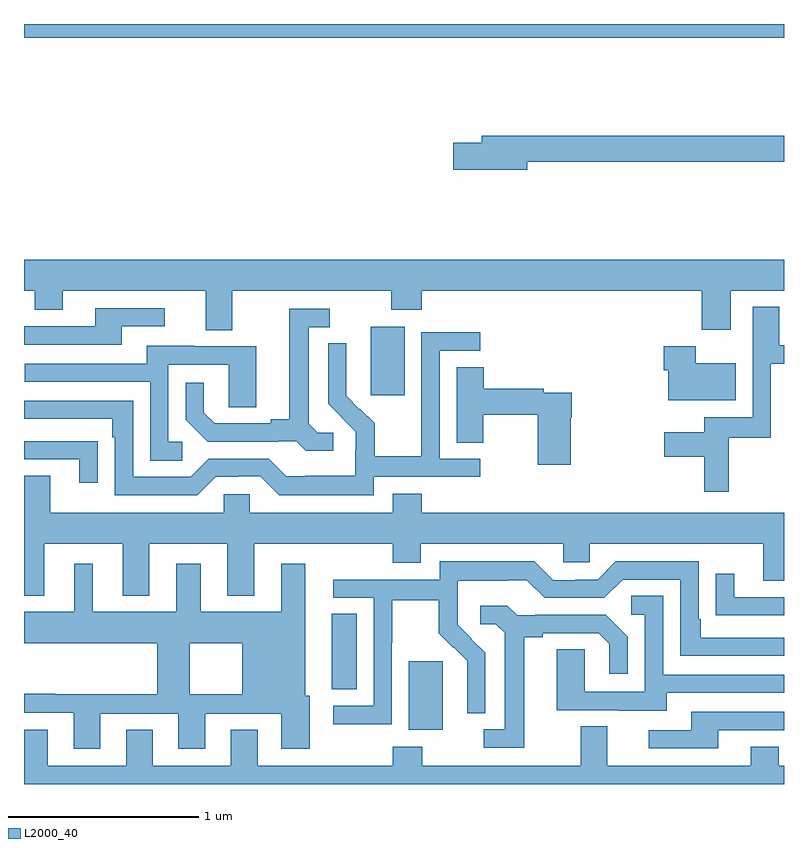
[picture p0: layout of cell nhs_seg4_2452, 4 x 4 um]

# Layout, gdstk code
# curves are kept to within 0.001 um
import gdstk
lib = gdstk.Library(unit=1e-6, precision=1e-09)
def R(c, l, rs):  # rectangles x0, y0, x1, y1
    for r in rs: c.add(gdstk.rectangle(r[:2], r[2:], *l))
def P(c, l, *ps):  # polygons
    for p in ps: c.add(gdstk.Polygon(p, *l))
L2000_40 = (2000, 40)

nhs_seg4_2452 = lib.new_cell('nhs_seg4_2452')
R(nhs_seg4_2452, L2000_40, [(241.025,785.186,241.204,785.547), (240.62,785.398,240.751,785.795), (240.824,786.945,241.003,787.306), (239,788.828,243,788.9)])
P(nhs_seg4_2452, L2000_40, [(241.648,788.176),(243,788.176),(243,788.312),(241.409,788.312),(241.409,788.276),(241.26,788.276),(241.26,788.134),(241.648,788.134)],
  [(240.097,787.496),(240.934,787.496),(240.934,787.397),(241.094,787.397),(241.094,787.496),(242.567,787.496),(242.567,787.29),(242.719,787.29),(242.719,787.496),(243,787.496),(243,787.66),(239,787.66),(239,787.496),(239.056,787.496),(239.056,787.397),(239.203,787.397),(239.203,787.496),(239.957,787.496),(239.957,787.288),(240.097,787.288)],
  [(242.71,786.723),(242.931,786.723),(242.931,787.113),(243,787.113),(243,787.209),(242.974,787.209),(242.974,787.411),(242.835,787.411),(242.835,786.831),(242.581,786.831),(242.581,786.751),(242.37,786.751),(242.37,786.622),(242.581,786.622),(242.581,786.438),(242.71,786.438)],
  [(239.515,787.308),(239.74,787.308),(239.74,787.404),(239.375,787.404),(239.375,787.308),(239,787.308),(239,787.212),(239.515,787.212)],
  [(240.628,786.75),(240.546,786.75),(240.499,786.797),(240.499,787.305),(240.61,787.305),(240.61,787.401),(240.395,787.401),(240.395,786.821),(240.299,786.821),(240.299,786.798),(240.004,786.798),(239.947,786.855),(239.947,787.012),(239.85,787.012),(239.85,786.818),(239.966,786.702),(240.338,786.702),(240.338,786.705),(240.432,786.705),(240.484,786.653),(240.628,786.653)],
  [(240.84,786.516),(241.402,786.516),(241.402,786.612),(241.188,786.612),(241.188,787.179),(241.402,787.179),(241.402,787.278),(241.092,787.278),(241.092,786.848),(241.09,786.848),(241.09,786.625),(240.845,786.625),(240.845,786.799),(240.768,786.876),(240.765,786.873),(240.695,786.944),(240.696,787.22),(240.6,787.22),(240.6,786.902),(240.746,786.754),(240.746,786.657),(240.744,786.657),(240.744,786.523),(240.481,786.523),(240.481,786.519),(240.381,786.519),(240.288,786.612),(239.973,786.612),(239.877,786.516),(239.574,786.516),(239.574,786.918),(239,786.918),(239,786.822),(239.465,786.822),(239.465,786.725),(239.478,786.725),(239.478,786.42),(239.913,786.42),(240.009,786.516),(240.128,786.516),(240.128,786.519),(240.243,786.519),(240.343,786.419),(240.84,786.419)],
  [(239.833,786.702),(239.76,786.702),(239.76,787.107),(240.078,787.107),(240.078,786.883),(240.223,786.883),(240.223,787.203),(239.899,787.203),(239.899,787.207),(239.645,787.207),(239.645,787.113),(239.005,787.113),(239.005,787.017),(239.664,787.017),(239.664,786.601),(239.833,786.601)],
  [(242.746,787.114),(242.536,787.114),(242.536,787.203),(242.366,787.203),(242.366,787.077),(242.39,787.077),(242.39,786.92),(242.746,786.92)],
  [(241.878,786.827),(241.883,786.827),(241.883,786.96),(241.736,786.96),(241.736,786.98),(241.421,786.98),(241.421,787.094),(241.277,787.094),(241.277,786.697),(241.416,786.697),(241.416,786.844),(241.705,786.844),(241.705,786.579),(241.878,786.579)],
  [(239.387,786.704),(239.285,786.704),(239.285,786.705),(239,786.705),(239,786.609),(239.291,786.609),(239.291,786.486),(239.387,786.486)],
  [(239.107,786.164),(239.519,786.164),(239.519,785.891),(239.659,785.891),(239.659,786.164),(240.071,786.164),(240.071,785.891),(240.211,785.891),(240.211,786.164),(240.94,786.164),(240.94,786.065),(241.087,786.065),(241.087,786.164),(241.839,786.164),(241.839,786.066),(241.977,786.066),(241.977,786.164),(242.891,786.164),(242.891,785.97),(243,785.97),(243,786.328),(241.094,786.328),(241.094,786.427),(240.941,786.427),(240.941,786.328),(240.189,786.328),(240.189,786.426),(240.051,786.426),(240.051,786.328),(239.137,786.328),(239.137,786.523),(239,786.523),(239,785.891),(239.107,785.891)],
  [(240.936,785.644),(240.939,785.644),(240.939,785.868),(241.183,785.868),(241.183,785.693),(241.26,785.616),(241.263,785.619),(241.334,785.549),(241.334,785.426),(241.332,785.426),(241.332,785.272),(241.428,785.272),(241.428,785.59),(241.282,785.738),(241.282,785.835),(241.284,785.835),(241.284,785.969),(241.547,785.969),(241.547,785.973),(241.647,785.973),(241.74,785.88),(242.055,785.88),(242.151,785.976),(242.454,785.976),(242.454,785.574),(243,785.574),(243,785.67),(242.563,785.67),(242.563,785.767),(242.55,785.767),(242.55,786.072),(242.115,786.072),(242.019,785.976),(241.901,785.976),(241.901,785.973),(241.785,785.973),(241.685,786.073),(241.188,786.073),(241.188,785.976),(240.627,785.976),(240.627,785.88),(240.84,785.88),(240.84,785.313),(240.627,785.313),(240.627,785.215),(240.936,785.215)],
  [(239.165,785.375),(239,785.375),(239,785.274),(239.261,785.274),(239.261,785.085),(239.401,785.085),(239.401,785.271),(239.813,785.271),(239.813,785.085),(239.953,785.085),(239.953,785.271),(240.353,785.271),(240.353,785.085),(240.505,785.085),(240.505,785.364),(240.481,785.364),(240.481,786.058),(240.353,786.058),(240.353,785.806),(239.929,785.806),(239.929,786.058),(239.801,786.058),(239.801,785.806),(239.362,785.806),(239.362,786.058),(239.264,786.058),(239.264,785.806),(239,785.806),(239,785.642),(239.702,785.642),(239.702,785.372),(239.872,785.372),(239.872,785.642),(240.149,785.642),(240.149,785.372),(239.872,785.372),(239.702,785.372),(239.165,785.372)],
  [(243,785.883),(242.737,785.883),(242.737,786.007),(242.641,786.007),(242.641,785.788),(242.743,785.788),(242.743,785.787),(243,785.787)],
  [(242.383,785.379),(243,785.379),(243,785.475),(242.364,785.475),(242.364,785.891),(242.196,785.891),(242.196,785.79),(242.268,785.79),(242.268,785.385),(241.95,785.385),(241.95,785.609),(241.805,785.609),(241.805,785.289),(242.129,785.289),(242.129,785.285),(242.383,785.285)],
  [(241.633,785.672),(241.729,785.672),(241.729,785.694),(242.024,785.694),(242.081,785.637),(242.081,785.481),(242.178,785.481),(242.178,785.674),(242.062,785.79),(241.69,785.79),(241.69,785.787),(241.596,785.787),(241.544,785.839),(241.401,785.839),(241.401,785.742),(241.482,785.742),(241.529,785.695),(241.529,785.187),(241.419,785.187),(241.419,785.091),(241.633,785.091)],
  [(242.653,785.184),(243,785.184),(243,785.28),(242.513,785.28),(242.513,785.184),(242.289,785.184),(242.289,785.088),(242.653,785.088)],
  [(243,784.996),(242.973,784.996),(242.973,785.095),(242.825,785.095),(242.825,784.996),(242.071,784.996),(242.071,785.204),(241.931,785.204),(241.931,784.996),(241.095,784.996),(241.095,785.095),(240.94,785.095),(240.94,784.996),(240.229,784.996),(240.229,785.186),(240.089,785.186),(240.089,784.996),(239.677,784.996),(239.677,785.186),(239.537,785.186),(239.537,784.996),(239.125,784.996),(239.125,785.186),(239,785.186),(239,784.9),(243,784.9)])

lib.write_gds('nhs_seg4_2452.gds')
